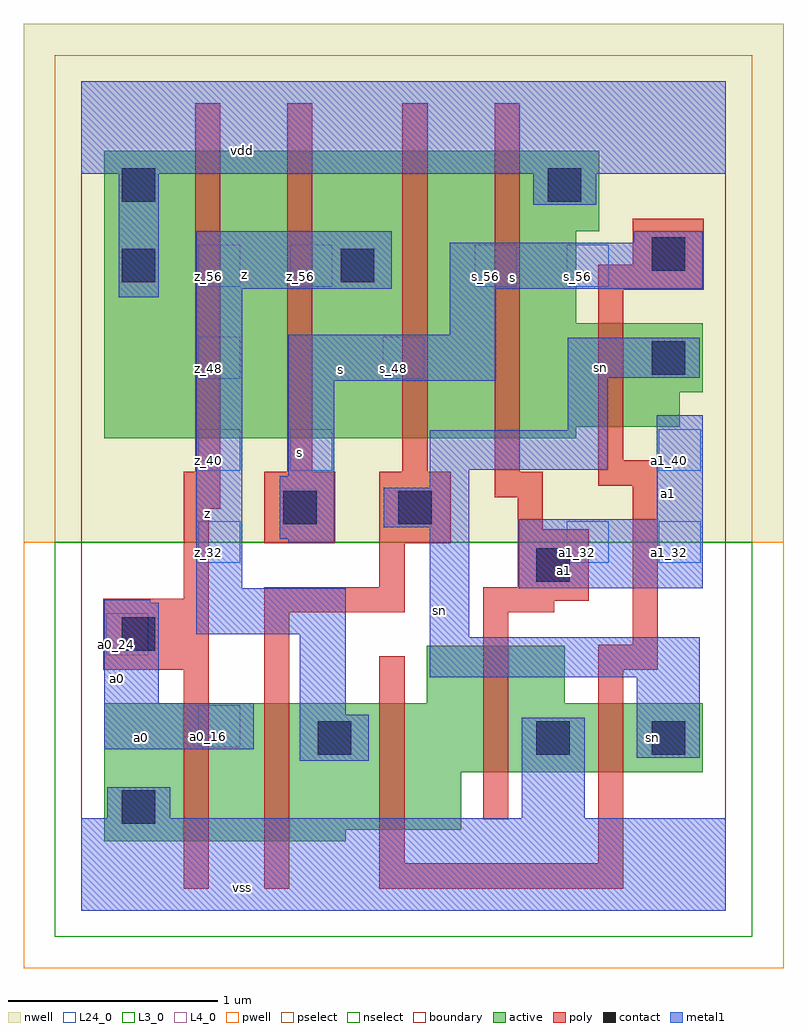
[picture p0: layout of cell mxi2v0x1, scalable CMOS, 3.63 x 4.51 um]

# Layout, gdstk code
import gdstk
lib = gdstk.Library(unit=1e-6, precision=2.5e-09)
def R(c, l, rs):  # rectangles x0, y0, x1, y1
    for r in rs: c.add(gdstk.rectangle(r[:2], r[2:], *l))
def A(c, l, x, y, w, h, nx, ny, dx, dy):  # array of equal rectangles
    R(c, l, [(x+i*dx, y+j*dy, x+i*dx+w, y+j*dy+h) for i in range(nx) for j in range(ny)])
L3_0 = (3, 0)
L4_0 = (4, 0)
L24_0 = (24, 0)
contact = (25, 0)
pwell = (41, 0)
nwell = (42, 0)
active = (43, 0)
pselect = (44, 0)
nselect = (45, 0)
poly = (46, 0)
metal1 = (49, 0)
boundary = (63, 0)

mxi2v0x1 = lib.new_cell('mxi2v0x1')
R(mxi2v0x1, L3_0, [(0.11,0.33,1.265,0.385), (0.11,0.385,1.815,0.66), (0.11,0.66,2.97,0.99), (1.65,0.99,2.31,1.265)])
R(mxi2v0x1, L4_0, [(0.11,2.255,2.365,2.31), (0.11,2.31,2.86,2.475), (0.11,2.475,2.97,2.805), (0.11,2.805,2.365,3.245), (0.11,3.245,2.475,3.63)])
A(mxi2v0x1, L24_0, 0.56, 1.66, 0.2, 0.2, 1, 4, 0, 0.44)
R(mxi2v0x1, L24_0, [(0.56,0.78,0.76,0.98), (0.12,1.22,0.32,1.42), (2.32,1.66,2.52,1.86), (2.76,1.66,2.96,1.86), (1,2.1,1.2,2.3), (2.76,2.1,2.96,2.3), (1.44,2.54,1.64,2.74), (1,2.98,1.2,3.18), (1.88,2.98,2.08,3.18), (2.32,2.98,2.52,3.18)])
R(mxi2v0x1, contact, [(0.195,0.415,0.355,0.575), (1.13,0.745,1.29,0.905), (2.175,0.745,2.335,0.905), (2.725,0.745,2.885,0.905), (0.195,1.24,0.355,1.4), (2.175,1.57,2.335,1.73), (0.965,1.845,1.125,2.005), (1.515,1.845,1.675,2.005), (2.725,2.56,2.885,2.72), (0.195,3,0.355,3.16), (1.24,3,1.4,3.16), (2.725,3.055,2.885,3.215), (0.195,3.385,0.355,3.545), (2.23,3.385,2.39,3.545)])
R(mxi2v0x1, pwell, [(-0.275,-0.275,3.355,1.76)])
R(mxi2v0x1, nwell, [(-0.275,1.76,3.355,4.235)])
R(mxi2v0x1, active, [(0.11,0.33,1.265,0.385), (0.11,0.385,1.815,0.66), (0.11,0.66,2.97,0.99), (1.65,0.99,2.31,1.265), (0.11,2.255,2.365,2.31), (0.11,2.31,2.86,2.475), (0.11,2.475,2.97,2.805), (0.11,2.805,2.365,3.245), (0.11,3.245,2.475,3.63)])
R(mxi2v0x1, pselect, [(-0.125,1.76,3.205,4.085)])
R(mxi2v0x1, nselect, [(-0.125,-0.125,3.205,1.76)])
R(mxi2v0x1, poly, [(0.49,0.105,0.61,1.15), (0.875,0.105,0.995,1.425), (1.425,0.105,2.59,0.225), (1.425,0.225,1.545,1.215), (2.47,0.225,2.59,1.15), (1.92,0.435,2.04,1.425), (0.105,1.15,0.61,1.49), (2.47,1.15,2.755,1.27), (2.635,1.27,2.755,2.03), (0.875,1.425,1.545,1.545), (1.92,1.425,2.26,1.48), (1.92,1.48,2.425,1.545), (0.49,1.49,0.61,1.92), (1.425,1.545,1.545,1.755), (2.085,1.545,2.425,1.82), (0.875,1.755,1.215,2.095), (1.425,1.755,1.765,2.095), (2.085,1.82,2.205,1.975), (0.49,1.92,0.665,2.095), (1.975,1.975,2.205,2.095), (2.47,2.03,2.755,2.15), (0.545,2.095,0.665,3.855), (0.985,2.095,1.105,3.855), (1.535,2.095,1.655,3.855), (1.975,2.095,2.095,3.855), (2.47,2.15,2.59,2.965), (2.47,2.965,2.975,3.085), (2.635,3.085,2.975,3.305)])
R(mxi2v0x1, metal1, [(0,0,3.08,0.44), (0.125,0.44,0.425,0.59), (2.105,0.44,2.405,0.92), (1.045,0.715,1.375,0.935), (2.655,0.73,2.955,1.115), (0.11,0.77,0.825,0.99), (1.045,0.935,1.265,1.32), (0.11,0.99,0.37,1.47), (1.665,1.115,2.955,1.305), (1.665,1.305,1.855,1.83), (0.55,1.32,1.265,1.54), (0.11,1.47,0.33,1.485), (0.55,1.54,0.77,2.97), (2.09,1.54,2.97,1.87), (0.99,1.76,1.21,1.775), (0.95,1.775,1.21,2.075), (1.445,1.83,1.855,2.02), (2.75,1.87,2.97,2.365), (1.665,2.02,1.855,2.105), (0.99,2.075,1.21,2.53), (1.665,2.105,2.515,2.295), (2.325,2.295,2.515,2.545), (0.99,2.53,1.98,2.75), (2.325,2.545,2.955,2.735), (1.76,2.75,1.98,2.97), (0.18,2.93,0.37,3.52), (0.55,2.97,1.485,3.245), (1.76,2.97,2.97,3.19), (2.64,3.19,2.97,3.245), (2.16,3.37,2.46,3.52), (0,3.52,3.08,3.96)])
R(mxi2v0x1, boundary, [(0,0,3.08,3.96)])
mxi2v0x1.add(gdstk.Label('vss', (0.77,0.11), layer=49, texttype=0))
mxi2v0x1.add(gdstk.Label('sn', (2.73,0.825), layer=49, texttype=0))
mxi2v0x1.add(gdstk.Label('a1', (2.31,1.6225), layer=49, texttype=0))
mxi2v0x1.add(gdstk.Label('sn', (1.7125,1.435), layer=49, texttype=0))
mxi2v0x1.add(gdstk.Label('a0', (0.2875,0.825), layer=49, texttype=0))
mxi2v0x1.add(gdstk.Label('a0', (0.175,1.11), layer=49, texttype=0))
mxi2v0x1.add(gdstk.Label('a1', (2.805,1.9925), layer=49, texttype=0))
mxi2v0x1.add(gdstk.Label('s', (1.045,2.1875), layer=49, texttype=0))
mxi2v0x1.add(gdstk.Label('sn', (2.4825,2.5925), layer=49, texttype=0))
mxi2v0x1.add(gdstk.Label('s', (1.2375,2.585), layer=49, texttype=0))
mxi2v0x1.add(gdstk.Label('z', (0.605,1.8975), layer=49, texttype=0))
mxi2v0x1.add(gdstk.Label('s', (2.0625,3.025), layer=49, texttype=0))
mxi2v0x1.add(gdstk.Label('z', (0.7825,3.0375), layer=49, texttype=0))
mxi2v0x1.add(gdstk.Label('vdd', (0.77,3.63), layer=49, texttype=0))
mxi2v0x1.add(gdstk.Label('z_48', (0.61,2.59), layer=24, texttype=0))
mxi2v0x1.add(gdstk.Label('z_40', (0.61,2.15), layer=24, texttype=0))
mxi2v0x1.add(gdstk.Label('z_32', (0.61,1.71), layer=24, texttype=0))
mxi2v0x1.add(gdstk.Label('z_56', (0.61,3.03), layer=24, texttype=0))
mxi2v0x1.add(gdstk.Label('z_56', (1.05,3.03), layer=24, texttype=0))
mxi2v0x1.add(gdstk.Label('a1_32', (2.37,1.71), layer=24, texttype=0))
mxi2v0x1.add(gdstk.Label('s_40', (1.05,2.15), layer=24, texttype=0))
mxi2v0x1.add(gdstk.Label('a1_40', (2.81,2.15), layer=24, texttype=0))
mxi2v0x1.add(gdstk.Label('a0_24', (0.17,1.27), layer=24, texttype=0))
mxi2v0x1.add(gdstk.Label('a1_32', (2.81,1.71), layer=24, texttype=0))
mxi2v0x1.add(gdstk.Label('s_48', (1.49,2.59), layer=24, texttype=0))
mxi2v0x1.add(gdstk.Label('s_56', (1.93,3.03), layer=24, texttype=0))
mxi2v0x1.add(gdstk.Label('s_56', (2.37,3.03), layer=24, texttype=0))
mxi2v0x1.add(gdstk.Label('a0_16', (0.61,0.83), layer=24, texttype=0))

lib.write_gds('mxi2v0x1.gds')
